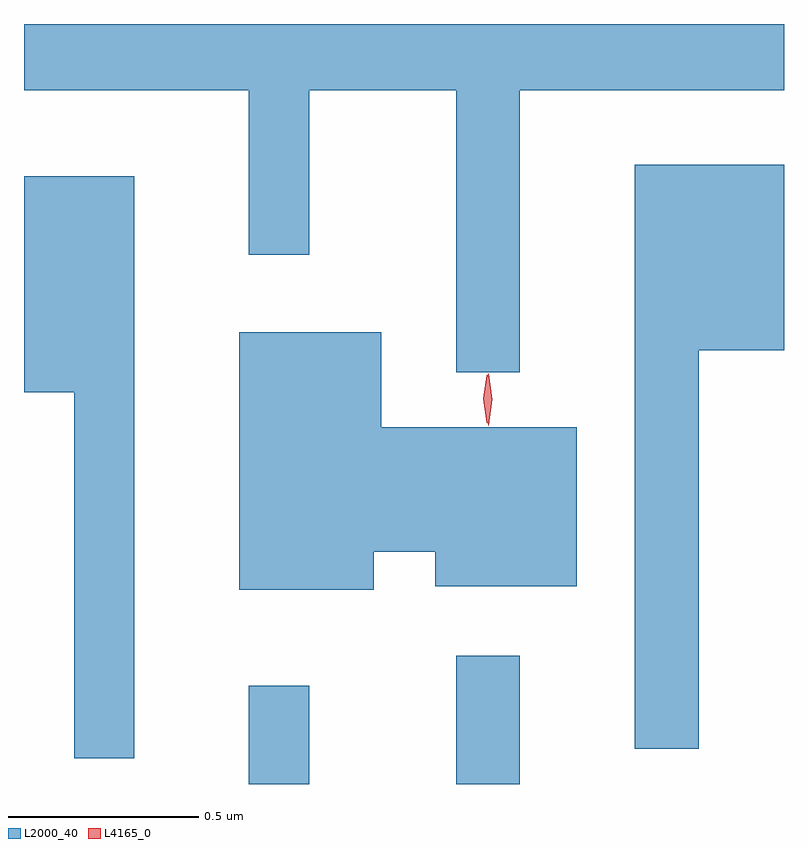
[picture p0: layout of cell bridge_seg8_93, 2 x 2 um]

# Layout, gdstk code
import gdstk
lib = gdstk.Library(unit=1e-6, precision=1e-09)
def R(c, l, rs):  # rectangles x0, y0, x1, y1
    for r in rs: c.add(gdstk.rectangle(r[:2], r[2:], *l))
def P(c, l, *ps):  # polygons
    for p in ps: c.add(gdstk.Polygon(p, *l))
L2000_40 = (2000, 40)
L4165_0 = (4165, 0)

bridge_seg8_93 = lib.new_cell('bridge_seg8_93')
R(bridge_seg8_93, L2000_40, [(1524.976,1854.57,1525.134,1854.828), (1525.521,1854.57,1525.689,1854.908)])
P(bridge_seg8_93, L2000_40, [(1525.689,1856.396),(1526.384,1856.396),(1526.384,1856.57),(1524.384,1856.57),(1524.384,1856.396),(1524.976,1856.396),(1524.976,1855.963),(1525.134,1855.963),(1525.134,1856.396),(1525.521,1856.396),(1525.521,1855.653),(1525.689,1855.653)],
  [(1526.159,1855.711),(1526.384,1855.711),(1526.384,1856.199),(1525.991,1856.199),(1525.991,1854.663),(1526.159,1854.663)],
  [(1524.674,1856.169),(1524.384,1856.169),(1524.384,1855.601),(1524.516,1855.601),(1524.516,1854.638),(1524.674,1854.638)],
  [(1525.304,1855.181),(1525.466,1855.181),(1525.466,1855.091),(1525.839,1855.091),(1525.839,1855.509),(1525.324,1855.509),(1525.324,1855.759),(1524.951,1855.759),(1524.951,1855.081),(1525.304,1855.081)])
P(bridge_seg8_93, L4165_0, [(1525.602,1855.521),(1525.593,1855.584),(1525.602,1855.646),(1525.603,1855.647),(1525.603,1855.646),(1525.613,1855.584),(1525.603,1855.521),(1525.603,1855.521)],
  [(1525.607,1855.513),(1525.606,1855.514),(1525.596,1855.582),(1525.606,1855.65),(1525.606,1855.65),(1525.607,1855.65),(1525.616,1855.582),(1525.607,1855.514)])

lib.write_gds('bridge_seg8_93.gds')
